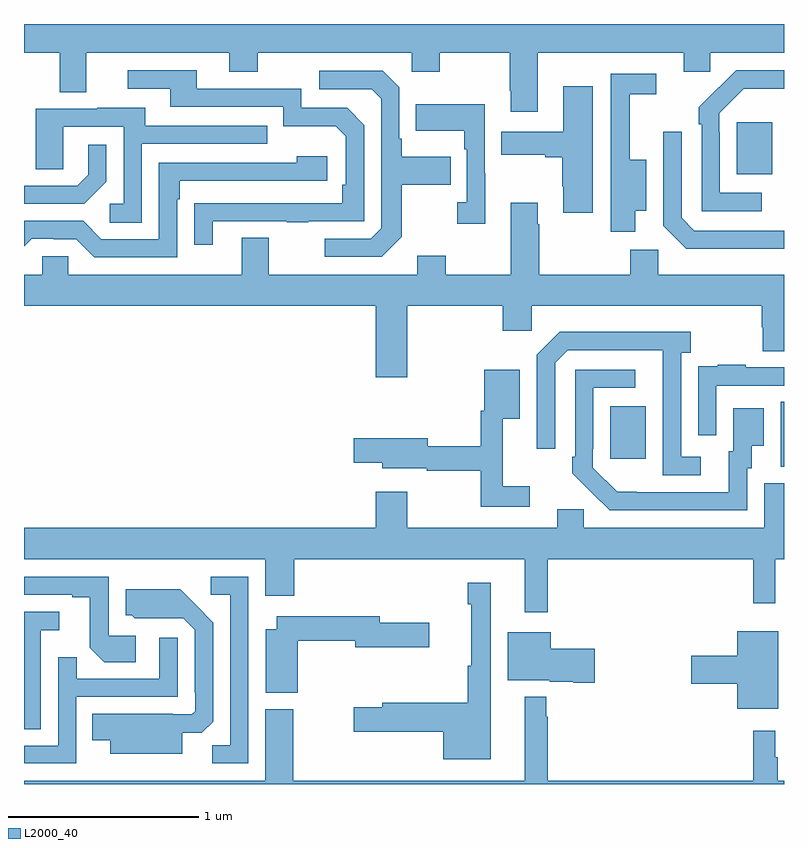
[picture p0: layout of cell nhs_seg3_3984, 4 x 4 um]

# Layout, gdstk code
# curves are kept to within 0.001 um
import gdstk
lib = gdstk.Library(unit=1e-6, precision=1e-09)
def R(c, l, rs):  # rectangles x0, y0, x1, y1
    for r in rs: c.add(gdstk.rectangle(r[:2], r[2:], *l))
def P(c, l, *ps):  # polygons
    for p in ps: c.add(gdstk.Polygon(p, *l))
L2000_40 = (2000, 40)

nhs_seg3_3984 = lib.new_cell('nhs_seg3_3984')
R(nhs_seg3_3984, L2000_40, [(322.982,700.069,323,700.412), (322.085,700.113,322.273,700.387), (322.751,701.609,322.939,701.884)])
P(nhs_seg3_3984, L2000_40, [(321.703,702.248),(322.472,702.248),(322.472,702.15),(322.611,702.15),(322.611,702.248),(323,702.248),(323,702.4),(319,702.4),(319,702.248),(319.187,702.248),(319.187,702.04),(319.327,702.04),(319.327,702.248),(320.081,702.248),(320.081,702.149),(320.229,702.149),(320.229,702.248),(321.042,702.248),(321.042,702.149),(321.189,702.149),(321.189,702.248),(321.556,702.248),(321.556,702.049),(321.563,702.049),(321.563,701.937),(321.703,701.937)],
  [(319.993,701.361),(320.383,701.361),(320.383,701.356),(320.495,701.356),(320.495,701.361),(320.79,701.361),(320.79,701.868),(320.7,701.958),(320.46,701.958),(320.46,702.06),(319.909,702.06),(319.909,702.156),(319.545,702.156),(319.545,702.06),(319.769,702.06),(319.769,701.964),(320.364,701.964),(320.364,701.861),(320.641,701.861),(320.694,701.808),(320.694,701.554),(320.674,701.554),(320.674,701.457),(319.897,701.456),(319.897,701.238),(319.993,701.238)],
  [(322.882,701.511),(322.662,701.511),(322.662,701.831),(322.659,701.831),(322.659,701.931),(322.788,702.06),(323,702.06),(323,702.156),(322.748,702.156),(322.551,701.961),(322.551,701.873),(322.566,701.873),(322.566,701.415),(322.882,701.415)],
  [(320.989,701.281),(320.989,701.554),(321.245,701.554),(321.245,701.701),(320.989,701.701),(320.989,701.797),(320.976,701.797),(320.976,702.066),(320.889,702.153),(320.553,702.153),(320.553,702.057),(320.829,702.057),(320.88,702.006),(320.88,701.325),(320.826,701.271),(320.583,701.271),(320.583,701.175),(320.883,701.175)],
  [(322.216,701.417),(322.276,701.417),(322.276,701.686),(322.187,701.686),(322.187,702.03),(322.327,702.03),(322.327,702.138),(322.089,702.138),(322.089,701.306),(322.216,701.306)],
  [(321.994,702.073),(321.839,702.073),(321.839,701.833),(321.511,701.833),(321.511,701.711),(321.743,701.711),(321.743,701.699),(321.832,701.699),(321.832,701.545),(321.839,701.545),(321.839,701.406),(321.994,701.406)],
  [(321.427,701.615),(321.426,701.615),(321.426,701.977),(321.061,701.977),(321.061,701.837),(321.318,701.837),(321.318,701.741),(321.33,701.741),(321.33,701.462),(321.279,701.462),(321.279,701.349),(321.427,701.349)],
  [(319.62,701.769),(320.279,701.769),(320.279,701.865),(319.639,701.865),(319.639,701.959),(319.385,701.959),(319.385,701.955),(319.061,701.955),(319.061,701.635),(319.206,701.635),(319.206,701.859),(319.524,701.859),(319.524,701.454),(319.452,701.454),(319.452,701.353),(319.62,701.353)],
  [(323,701.313),(322.527,701.313),(322.461,701.379),(322.461,701.833),(322.365,701.833),(322.365,701.337),(322.486,701.216),(323,701.216)],
  [(319.434,701.57),(319.434,701.764),(319.337,701.764),(319.337,701.607),(319.28,701.55),(319,701.55),(319,701.454),(319.318,701.454)],
  [(319.806,701.477),(319.819,701.477),(319.819,701.574),(320.596,701.574),(320.596,701.704),(320.435,701.704),(320.435,701.67),(319.71,701.67),(319.71,701.268),(319.407,701.268),(319.311,701.364),(319,701.364),(319,701.23),(319.041,701.271),(319.157,701.271),(319.157,701.268),(319.275,701.268),(319.371,701.172),(319.806,701.172)],
  [(321.016,700.916),(321.521,700.916),(321.521,700.785),(321.672,700.785),(321.672,700.916),(322.883,700.916),(322.883,700.803),(322.888,700.803),(322.888,700.678),(323,700.678),(323,701.08),(322.338,701.08),(322.338,701.212),(322.192,701.212),(322.192,701.08),(321.711,701.08),(321.711,701.345),(321.703,701.345),(321.703,701.458),(321.563,701.458),(321.563,701.08),(321.219,701.08),(321.219,701.179),(321.071,701.179),(321.071,701.08),(320.287,701.08),(320.287,701.275),(320.147,701.275),(320.147,701.08),(319.233,701.08),(319.233,701.178),(319.095,701.178),(319.095,701.08),(319,701.08),(319,700.916),(320.852,700.916),(320.852,700.542),(321.016,700.542)],
  [(322.561,700.122),(322.458,700.122),(322.458,700.67),(322.51,700.67),(322.51,700.78),(321.82,700.78),(321.699,700.659),(321.699,700.164),(321.795,700.164),(321.795,700.617),(321.861,700.683),(322.361,700.683),(322.362,700.026),(322.561,700.026)],
  [(322.644,700.497),(323,700.497),(323,700.593),(322.799,700.593),(322.799,700.606),(322.651,700.606),(322.651,700.599),(322.549,700.599),(322.549,700.49),(322.548,700.49),(322.548,700.236),(322.644,700.236)],
  [(322.806,700.062),(322.831,700.062),(322.831,700.181),(322.894,700.181),(322.894,700.378),(322.733,700.378),(322.733,700.152),(322.709,700.152),(322.709,699.936),(322.122,699.937),(321.993,700.065),(321.993,700.165),(321.996,700.165),(321.996,700.485),(322.216,700.485),(322.216,700.581),(321.9,700.581),(321.9,700.123),(321.885,700.123),(321.885,700.035),(322.082,699.84),(322.806,699.84)],
  [(321.661,699.967),(321.521,699.967),(321.521,700.322),(321.61,700.322),(321.61,700.579),(321.422,700.579),(321.422,700.365),(321.403,700.365),(321.403,700.178),(321.124,700.178),(321.124,700.221),(320.736,700.221),(320.736,700.091),(320.885,700.091),(320.885,700.062),(321.12,700.062),(321.12,700.05),(321.403,700.05),(321.403,699.858),(321.661,699.858)],
  [(321.757,699.584),(322.837,699.584),(322.837,699.351),(322.955,699.351),(322.955,699.584),(323,699.584),(323,699.984),(322.895,699.984),(322.895,699.748),(321.945,699.748),(321.945,699.846),(321.806,699.846),(321.806,699.748),(321.016,699.748),(321.016,699.937),(320.852,699.937),(320.852,699.748),(319,699.748),(319,699.584),(320.27,699.584),(320.27,699.39),(320.423,699.39),(320.423,699.584),(321.635,699.584),(321.635,699.303),(321.757,699.303)],
  [(320.181,699.492),(319.983,699.492),(319.983,699.396),(320.085,699.396),(320.085,698.603),(319.99,698.603),(319.99,698.508),(320.181,698.508)],
  [(319.588,699.18),(319.446,699.18),(319.446,699.492),(319,699.492),(319,699.396),(319.253,699.396),(319.253,699.384),(319.347,699.384),(319.347,699.116),(319.423,699.04),(319.588,699.04)],
  [(321.457,699.46),(321.336,699.46),(321.336,699.347),(321.353,699.347),(321.353,699.023),(321.336,699.023),(321.336,698.827),(320.885,698.827),(320.885,698.805),(320.736,698.805),(320.736,698.675),(321.206,698.675),(321.206,698.531),(321.457,698.531)],
  [(319.834,698.669),(319.936,698.669),(319.995,698.728),(319.995,699.25),(319.823,699.424),(319.535,699.424),(319.535,699.288),(319.566,699.288),(319.582,699.272),(319.839,699.273),(319.899,699.213),(319.899,698.884),(319.902,698.884),(319.902,698.784),(319.884,698.766),(319.784,698.766),(319.784,698.77),(319.36,698.77),(319.36,698.63),(319.454,698.63),(319.454,698.558),(319.834,698.558)],
  [(319.089,699.209),(319.186,699.209),(319.186,699.306),(319,699.306),(319,698.689),(319.089,698.689)],
  [(320.44,699.154),(320.744,699.154),(320.744,699.119),(321.133,699.119),(321.133,699.249),(320.872,699.249),(320.872,699.283),(320.33,699.283),(320.33,699.214),(320.273,699.214),(320.273,698.879),(320.44,698.879)],
  [(322.969,699.205),(322.754,699.205),(322.754,699.074),(322.512,699.074),(322.512,698.927),(322.754,698.927),(322.754,698.795),(322.969,698.795)],
  [(322.003,699.111),(321.772,699.111),(321.772,699.199),(321.545,699.199),(321.545,698.945),(321.768,698.945),(321.768,698.939),(321.89,698.939),(321.89,698.933),(322.003,698.933)],
  [(319.275,698.859),(319.809,698.859),(319.809,699.169),(319.713,699.169),(319.713,698.955),(319.277,698.955),(319.277,699.068),(319.179,699.068),(319.179,698.601),(319,698.601),(319,698.508),(319.275,698.508)],
  [(323,698.416),(322.966,698.416),(322.966,698.54),(322.954,698.54),(322.954,698.68),(322.837,698.68),(322.837,698.416),(321.757,698.416),(321.757,698.753),(321.749,698.753),(321.749,698.86),(321.635,698.86),(321.635,698.416),(320.418,698.416),(320.418,698.794),(320.27,698.794),(320.27,698.416),(319,698.416),(319,698.4),(323,698.4)])

lib.write_gds('nhs_seg3_3984.gds')
